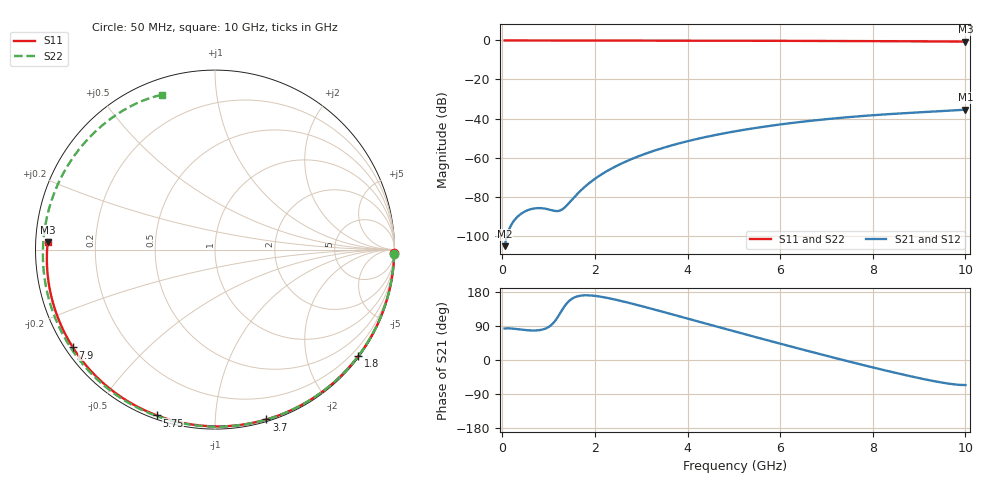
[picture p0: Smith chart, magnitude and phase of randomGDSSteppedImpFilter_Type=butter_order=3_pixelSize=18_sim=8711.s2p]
! freq	dB(S11)	phase(S11)	dB(S12)	phase(S12)
!  dB(S21)	phase(S21)	dB(S22)	phase(S22)
!S-par simulation data
#  GHz  S  DB  R 50
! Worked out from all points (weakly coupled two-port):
!   200 points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, 50 MHz to 10 GHz, reference 50 ohm
!   highest |S21| = -35.38 dB at 10 GHz (marker M1); lowest = -105.4 dB at 50 MHz (marker M2)
!   lowest |S11| = -0.6 dB at 10 GHz (marker M3), VSWR 28.79, Z = 1.74 + j1.13 ohm
!   |S11| at or under -10 dB: nowhere
!   |S22| runs from -0.8 to 0.0 dB; largest |S21 - S12| = 0
!   S11 on the Smith chart (normalised r, x): 50 MHz: open; 1.8 GHz: 0.03, -3.01; 3.7 GHz: 0.02, -1.35; 5.75 GHz: 0.02, -0.71; 7.9 GHz: 0.02, -0.31; 10 GHz: 0.03, +0.02
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0.05  -0.01 -1.1  -105.35 83.2  -105.35 83.2  -0.01 -1.3
0.75  -0.02 -15.5  -85.89 78.1  -85.89 78.1  -0.03 -20.7
1.55  -0.04 -31.7  -80.35 164.7  -80.35 164.7  -0.05 -42.3
1.75  -0.05 -35.7  -75.61 170.5  -75.61 170.5  -0.06 -47.6
1.8  -0.05 -36.7  -74.57 170.7  -74.57 170.7  -0.06 -48.9
2.1  -0.05 -42.7  -69.24 167.5  -69.24 167.5  -0.07 -56.7
2.45  -0.06 -49.5  -64.47 159.1  -64.47 159.1  -0.08 -65.6
2.9  -0.08 -58.2  -59.71 145.6  -59.71 145.6  -0.10 -76.9
3.4  -0.09 -67.6  -55.55 129.4  -55.55 129.4  -0.12 -89.1
3.7  -0.10 -73.1  -53.46 119.4  -53.46 119.4  -0.13 -96.2
4.35  -0.12 -84.9  -49.68 97.7  -49.68 97.7  -0.16 -111.3
5.05  -0.15 -97.3  -46.44 74.3  -46.44 74.3  -0.19 -127.2
5.75  -0.18 -109.3  -43.84 51.3  -43.84 51.3  -0.23 -142.9
6.25  -0.21 -117.8  -42.27 35.0  -42.27 35.0  -0.27 -154.1
6.7  -0.24 -125.3  -41.05 20.6  -41.05 20.6  -0.31 -164.2
7.3  -0.29 -135.4  -39.65 1.8  -39.65 1.8  -0.36 -178.0
7.9  -0.34 -145.4  -38.48 -16.5  -38.48 -16.5  -0.42 167.7
8.35  -0.39 -153.1  -37.74 -29.8  -37.74 -29.8  -0.47 156.5
8.8  -0.44 -160.8  -37.09 -42.5  -37.09 -42.5  -0.52 144.8
9.2  -0.49 -167.9  -36.59 -52.9  -36.59 -52.9  -0.58 133.8
9.6  -0.54 -175.1  -36.08 -61.7  -36.08 -61.7  -0.65 122.1
10  -0.60 177.4  -35.38 -66.1  -35.38 -66.1  -0.80 109.0
